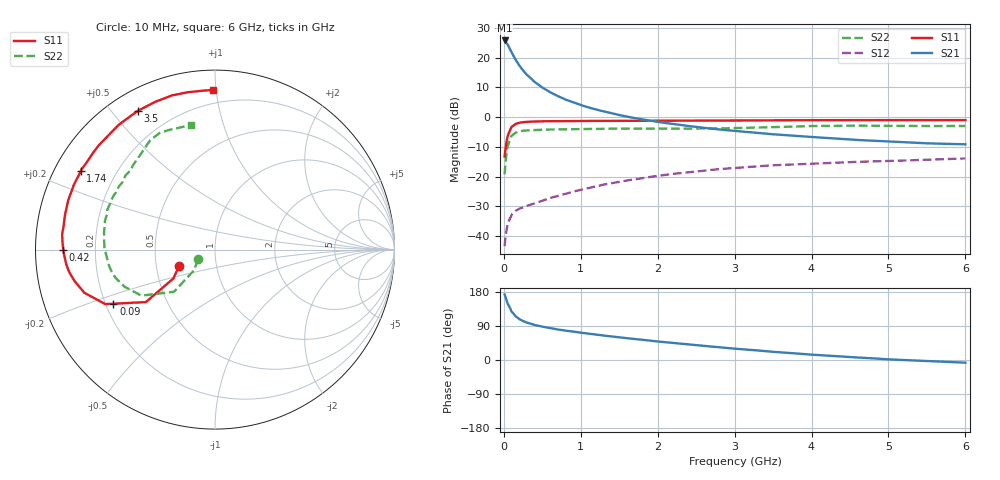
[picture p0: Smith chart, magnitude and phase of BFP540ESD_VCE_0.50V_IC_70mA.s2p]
! Infineon Technologies  Discrete & RF Semiconductors
! BFP540ESD
! VCE = 0.50 V,  IC =  70 mA
! Common Emitter S-Parameters:  Nov 2015
# GHz  S  MA  R  50
!  f  S11  S21  S12  S22
! GHz  MAG  ANG  MAG  ANG  MAG  ANG  MAG  ANG
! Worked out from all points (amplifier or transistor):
!   210 points, 10 MHz to 6 GHz, reference 50 ohm
!   highest |S21| = 25.7 dB at 10 MHz (marker M1)
!   |S21| within 3 dB of that: start of sweep to 80.69 MHz
!   unconditionally stable (mu >= 1): start of sweep to 97.52 MHz; 362.5 MHz to end of sweep
!   at 185 MHz: K = 0.86, MSG = 24.5 dB, |S12| = -31.0 dB
!   at 1.52 GHz: K = 1.38, MAG = 7.4 dB, |S12| = -21.6 dB
!   at 6 GHz: K = 1.37, MAG = -1.3 dB, |S12| = -13.9 dB
!   S11 on the Smith chart (normalised r, x): 10 MHz: 0.66, -0.12; 90 MHz: 0.23, -0.24; 420 MHz: 0.08, +0.00; 1.74 GHz: 0.08, +0.27; 3.5 GHz: 0.08, +0.58; 6 GHz: 0.11, +0.98
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0.01  0.2181 -156.0  19.37 173.1  0.0068 27.6  0.1098 -151.0
0.02  0.2827 -145.2  18.68 166.2  0.0093 39.1  0.161 -135.4
0.05  0.484 -142.8  16.53 148.4  0.0159 44.4  0.3273 -134.2
0.09  0.6416 -152.0  12.99 132.8  0.0214 39.8  0.4511 -146.0
0.1  0.6828 -153.6  12.31 127.6  0.0228 39.0  0.4841 -148.0
0.15  0.7666 -161.7  9.293 115.7  0.0265 36.5  0.5448 -157.7
0.2  0.8021 -167.4  7.387 108.1  0.0289 35.0  0.5765 -164.2
0.26  0.8246 -172.0  5.864 102.0  0.031 35.0  0.5922 -169.2
0.3  0.833 -174.4  5.12 98.6  0.0324 37.1  0.5981 -172.0
0.4  0.8444 -179.3  3.89 92.4  0.0355 38.4  0.6071 -177.1
0.42  0.8455 180.0  3.737 91.6  0.0363 39.1  0.6086 -177.8
0.5  0.8511 177.0  3.132 87.8  0.0394 41.8  0.6158 179.2
0.7  0.8536 171.1  2.26 80.5  0.0474 45.1  0.6211 173.6
1.02  0.8598 163.7  1.566 71.6  0.0611 47.8  0.6299 166.8
1.4  0.865 155.9  1.157 62.1  0.0776 47.2  0.6398 160.1
1.74  0.8663 149.7  0.943 54.6  0.0916 45.2  0.6403 154.8
2.02  0.8647 144.6  0.824 48.4  0.1036 42.9  0.6379 150.1
3.1  0.8781 125.9  0.572 28.4  0.1431 31.1  0.6589 132.7
3.5  0.8847 119.2  0.515 21.6  0.1553 26.6  0.6779 126.9
4.1  0.8879 110.8  0.455 12.9  0.1675 19.5  0.7101 119.5
5.1  0.8889 98.9  0.384 0.8  0.185 9.9  0.7119 109.6
6  0.8899 90.8  0.349 -7.0  0.2022 2.7  0.7094 101.0
